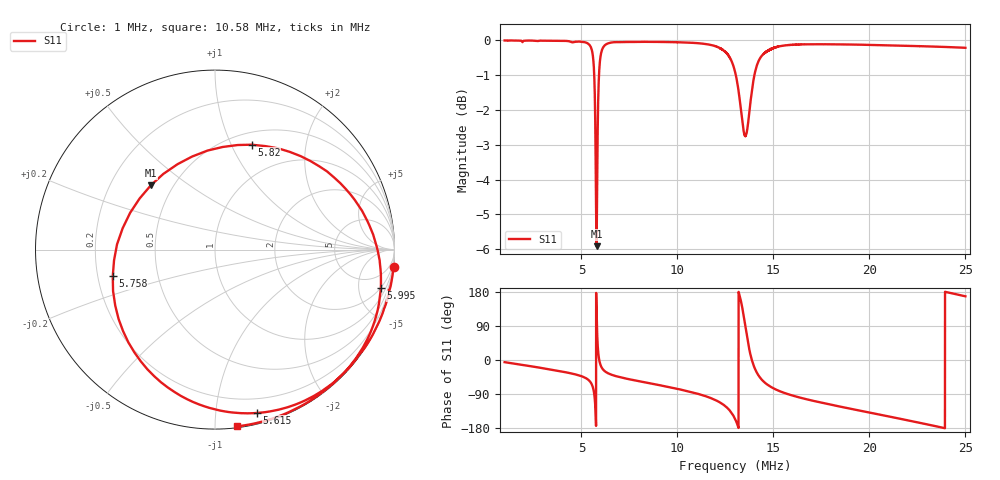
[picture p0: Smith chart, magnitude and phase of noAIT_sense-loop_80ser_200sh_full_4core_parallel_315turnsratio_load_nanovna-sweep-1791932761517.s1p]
! NanoVNA Web complex sweep
! Processing: unaveraged complex samples; linear segment spacing; no smoothing
# Hz S RI R 50
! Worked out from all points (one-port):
!   5050 points, 1 MHz to 25 MHz, reference 50 ohm
!   lowest |S11| = -5.9 dB at 5.786 MHz (marker M1), VSWR 3.05, Z = 18.9 + j18.2 ohm
!   |S11| at or under -10 dB: nowhere
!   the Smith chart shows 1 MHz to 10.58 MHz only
!   S11 on the Smith chart (normalised r, x): 1 MHz: 0, -20; 5.615 MHz: 0.08, -1.29; 5.758 MHz: 0.26, -0.12; 5.82 MHz: 0.63, +1.20; 5.995 MHz: 1.94, -8.27; 10.58 MHz: 0.01, -1.13
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1000000  0.9945 -0.0996
4003896  0.8595 -0.5075
5263441  0.6535 -0.7463
5486832  0.4969 -0.8428
5615163  0.2353 -0.9101
5691211  -0.1555 -0.8334
5757753  -0.5696 -0.1482
5786271  -0.3572 0.3585
5819542  0.204 0.5844
5890837  0.8347 0.187
5995403  0.9236 -0.2146
6280583  0.8376 -0.5214
7003039  0.699 -0.7066
1.000218e7  0.2369 -0.9649
1.058205e7  0.1231 -0.9846
1.228362e7  -0.3968 -0.8876
1.270189e7  -0.6323 -0.7052
1.300132e7  -0.8185 -0.3767
1.3277e7  -0.7701 0.2434
1.351465e7  -0.0841 0.7254
1.372378e7  0.6519 0.4252
1.390915e7  0.8549 -0.0814
1.418007e7  0.7379 -0.561
1.453179e7  0.4955 -0.82
1.600047e7  -0.0655 -0.9825
1.899961e7  -0.6133 -0.7722
2.199875e7  -0.9182 -0.3479
2.49979e7  -0.9544 0.202
